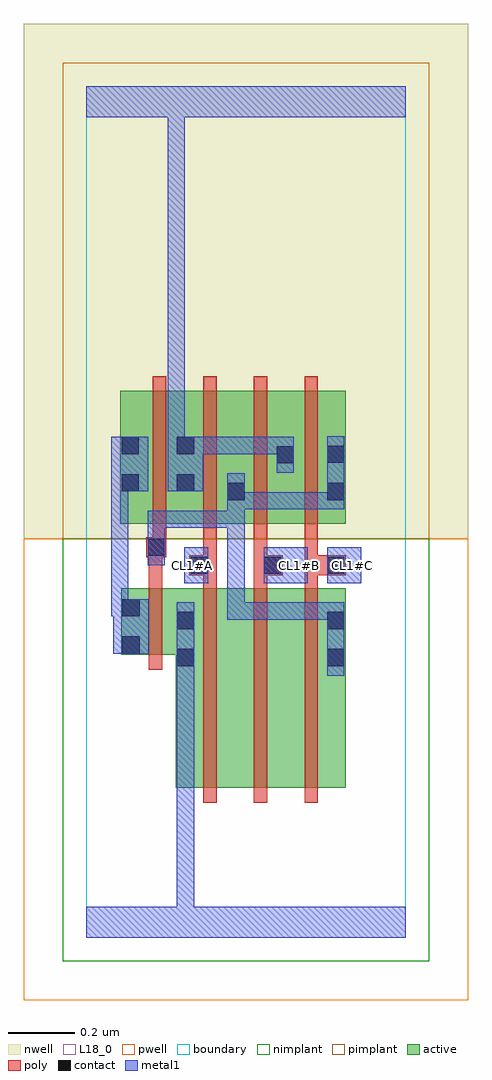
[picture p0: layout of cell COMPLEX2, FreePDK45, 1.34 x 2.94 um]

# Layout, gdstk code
import gdstk
lib = gdstk.Library(unit=1e-6, precision=1e-09)
def R(c, l, rs):  # rectangles x0, y0, x1, y1
    for r in rs: c.add(gdstk.rectangle(r[:2], r[2:], *l))
def A(c, l, x, y, w, h, nx, ny, dx, dy):  # array of equal rectangles
    R(c, l, [(x+i*dx, y+j*dy, x+i*dx+w, y+j*dy+h) for i in range(nx) for j in range(ny)])
active = (1, 0)
pwell = (2, 0)
nwell = (3, 0)
nimplant = (4, 0)
pimplant = (5, 0)
poly = (9, 0)
contact = (10, 0)
metal1 = (11, 0)
L18_0 = (18, 0)
boundary = (235, 0)

complex2 = lib.new_cell('COMPLEX2')
R(complex2, active, [(0.268,0.45,0.448,1.05), (0.448,0.45,0.6,1.05), (0.6,0.45,0.78,1.05), (0.72,0.556,0.78,1.05), (0.268,0.812,0.328,0.984), (0.104,0.85,0.328,1.05), (0.104,0.85,0.164,1.05), (0.102,1.244,0.162,1.644), (0.102,1.244,0.328,1.644), (0.268,1.244,0.48,1.644), (0.42,1.244,0.628,1.644), (0.568,1.244,0.78,1.644), (0.72,1.244,0.78,1.644), (0.42,1.312,0.48,1.644), (0.268,1.338,0.328,1.644), (0.568,1.422,0.628,1.644)])
R(complex2, pwell, [(-0.188,-0.188,1.148,1.2)])
R(complex2, nwell, [(-0.188,1.2,1.148,2.748)])
R(complex2, nimplant, [(-0.072,-0.072,1.032,1.2)])
R(complex2, pimplant, [(-0.072,1.2,1.032,2.632)])
A(complex2, poly, 0.352, 0.406, 0.04, 0.688, 3, 1, 0.152, 0)
A(complex2, poly, 0.352, 1.054, 0.04, 0.076, 3, 1, 0.152, 0)
A(complex2, poly, 0.352, 1.11, 0.04, 0.13, 3, 1, 0.152, 0)
A(complex2, poly, 0.2, 1.2, 0.04, 0.488, 4, 1, 0.152, 0)
R(complex2, poly, [(0.188,0.806,0.228,1.094), (0.188,1.054,0.228,1.184), (0.31,1.09,0.392,1.15), (0.504,1.09,0.544,1.13), (0.504,1.09,0.544,1.13), (0.504,1.09,0.59,1.15), (0.656,1.09,0.696,1.13), (0.656,1.09,0.696,1.13), (0.656,1.09,0.78,1.15), (0.352,1.11,0.392,1.15), (0.352,1.11,0.392,1.15), (0.18,1.144,0.24,1.204), (0.188,1.144,0.228,1.184), (0.188,1.144,0.228,1.184), (0.2,1.164,0.24,1.24)])
R(complex2, contact, [(0.272,0.816,0.324,0.868), (0.724,0.816,0.776,0.868), (0.108,0.854,0.16,0.906), (0.272,0.928,0.324,0.98), (0.724,0.928,0.776,0.98), (0.108,0.966,0.16,1.018), (0.314,1.094,0.366,1.146), (0.534,1.094,0.586,1.146), (0.724,1.094,0.776,1.146), (0.184,1.148,0.236,1.2), (0.424,1.316,0.476,1.368), (0.724,1.316,0.776,1.368), (0.106,1.342,0.158,1.394), (0.272,1.342,0.324,1.394), (0.572,1.426,0.624,1.478), (0.724,1.428,0.776,1.48), (0.106,1.454,0.158,1.506), (0.272,1.454,0.324,1.506)])
R(complex2, metal1, [(0,0,0.96,0.092), (0.272,0.04,0.324,0.092), (0.272,0.04,0.324,0.092), (0.272,0.04,0.324,0.092), (0.272,0.04,0.324,0.092), (0.272,0.04,0.324,0.092), (0.272,0.04,0.324,0.092), (0.272,0.04,0.324,0.84), (0.272,0.788,0.324,0.84), (0.272,0.788,0.324,0.84), (0.272,0.788,0.324,1.008), (0.724,0.788,0.776,1.008), (0.08,0.854,0.188,1.018), (0.424,0.956,0.476,1.008), (0.424,0.956,0.578,1.008), (0.424,0.956,0.476,1.284), (0.526,0.956,0.578,1.008), (0.526,0.956,0.586,1.008), (0.534,0.956,0.586,1.008), (0.534,0.956,0.776,1.008), (0.724,0.956,0.776,1.008), (0.724,0.956,0.776,1.008), (0.724,0.956,0.776,1.008), (0.724,0.956,0.776,1.008), (0.074,0.966,0.126,1.394), (0.074,0.966,0.132,1.018), (0.08,0.966,0.132,1.018), (0.294,1.066,0.366,1.174), (0.534,1.066,0.666,1.174), (0.724,1.066,0.826,1.174), (0.184,1.12,0.236,1.228), (0.184,1.176,0.236,1.228), (0.184,1.176,0.236,1.284), (0.184,1.232,0.466,1.284), (0.414,1.232,0.466,1.284), (0.414,1.232,0.476,1.284), (0.424,1.232,0.476,1.284), (0.424,1.232,0.476,1.34), (0.424,1.288,0.476,1.396), (0.424,1.288,0.652,1.34), (0.6,1.288,0.652,1.34), (0.6,1.288,0.66,1.34), (0.608,1.288,0.66,1.34), (0.608,1.288,0.776,1.34), (0.724,1.288,0.776,1.34), (0.724,1.288,0.776,1.34), (0.724,1.288,0.776,1.508), (0.074,1.342,0.126,1.394), (0.074,1.342,0.126,1.394), (0.074,1.342,0.186,1.506), (0.244,1.342,0.352,1.506), (0.572,1.398,0.624,1.506), (0.244,1.454,0.296,1.506), (0.244,1.454,0.296,1.506), (0.244,1.454,0.296,1.506), (0.244,1.454,0.296,1.506), (0.244,1.454,0.296,2.52), (0.3,1.454,0.434,1.506), (0.382,1.454,0.434,1.506), (0.382,1.454,0.474,1.506), (0.422,1.454,0.474,1.506), (0.422,1.454,0.624,1.506), (0.572,1.454,0.624,1.506), (0.572,1.454,0.624,1.506), (0,2.468,0.96,2.56), (0.244,2.468,0.296,2.52), (0.244,2.468,0.296,2.52), (0.244,2.468,0.296,2.52), (0.244,2.468,0.296,2.52), (0.244,2.468,0.296,2.52), (0.244,2.468,0.296,2.52), (0.244,2.468,0.296,2.52), (0.244,2.468,0.296,2.52), (0.244,2.468,0.296,2.52), (0.244,2.468,0.296,2.52), (0.244,2.468,0.296,2.52), (0.244,2.468,0.296,2.52)])
R(complex2, L18_0, [(0,0,0.96,0.092), (0.272,0.04,0.324,0.092), (0.272,0.04,0.324,0.092), (0.272,0.04,0.324,0.092), (0.272,0.04,0.324,0.092), (0.272,0.04,0.324,0.092), (0.272,0.04,0.324,0.092), (0.272,0.04,0.324,0.84), (0.272,0.788,0.324,0.84), (0.272,0.788,0.324,0.84), (0.272,0.788,0.324,1.008), (0.294,1.066,0.366,1.174), (0.534,1.066,0.666,1.174), (0.724,1.066,0.826,1.174), (0.294,1.094,0.346,1.146), (0.614,1.094,0.666,1.146), (0.774,1.094,0.826,1.146), (0.244,1.342,0.352,1.506), (0.572,1.398,0.624,1.506), (0.244,1.454,0.296,1.506), (0.244,1.454,0.296,1.506), (0.244,1.454,0.296,1.506), (0.244,1.454,0.296,1.506), (0.244,1.454,0.296,2.52), (0.3,1.454,0.434,1.506), (0.382,1.454,0.434,1.506), (0.382,1.454,0.474,1.506), (0.422,1.454,0.474,1.506), (0.422,1.454,0.624,1.506), (0.572,1.454,0.624,1.506), (0.572,1.454,0.624,1.506), (0,2.468,0.96,2.56), (0.244,2.468,0.296,2.52), (0.244,2.468,0.296,2.52), (0.244,2.468,0.296,2.52), (0.244,2.468,0.296,2.52), (0.244,2.468,0.296,2.52), (0.244,2.468,0.296,2.52), (0.244,2.468,0.296,2.52), (0.244,2.468,0.296,2.52), (0.244,2.468,0.296,2.52), (0.244,2.468,0.296,2.52), (0.244,2.468,0.296,2.52), (0.244,2.468,0.296,2.52)])
R(complex2, boundary, [(0,0,0.96,2.56)])
complex2.add(gdstk.Label('CL1#A', (0.32,1.12), layer=11, texttype=0))
complex2.add(gdstk.Label('CL1#B', (0.64,1.12), layer=11, texttype=0))
complex2.add(gdstk.Label('CL1#C', (0.8,1.12), layer=11, texttype=0))

lib.write_gds('COMPLEX2.gds')
